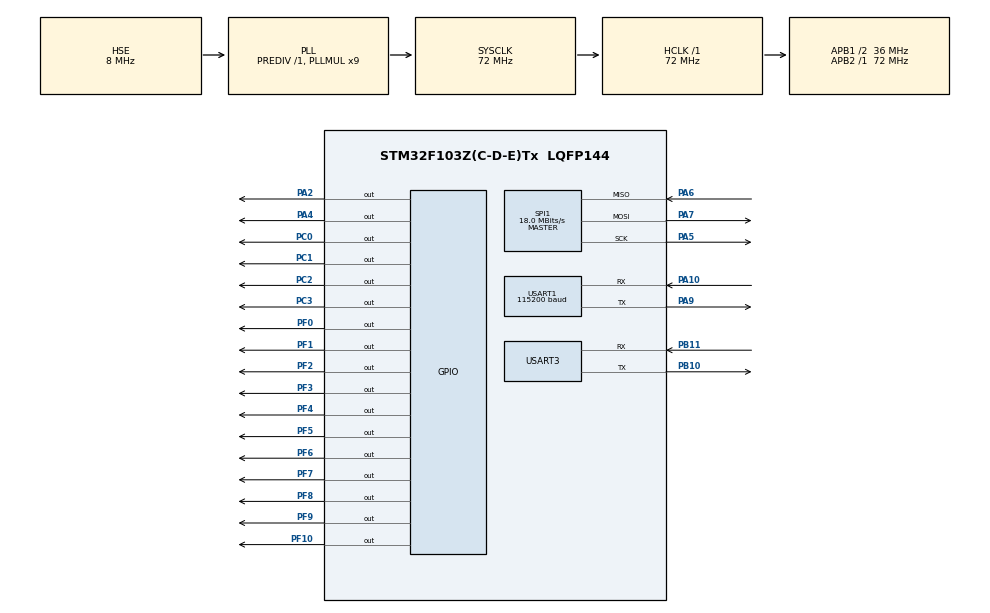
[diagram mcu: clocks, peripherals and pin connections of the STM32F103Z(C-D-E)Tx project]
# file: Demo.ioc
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Dma.Request0=USART1_RX
Dma.Request1=USART3_RX
Dma.USART1_RX.0.Direction=DMA_PERIPH_TO_MEMORY
Dma.USART1_RX.0.Instance=DMA1_Channel5
Dma.USART1_RX.0.MemDataAlignment=DMA_MDATAALIGN_BYTE
Dma.USART1_RX.0.MemInc=DMA_MINC_ENABLE
Dma.USART1_RX.0.Mode=DMA_NORMAL
Dma.USART1_RX.0.PeriphDataAlignment=DMA_PDATAALIGN_BYTE
Dma.USART1_RX.0.PeriphInc=DMA_PINC_DISABLE
Dma.USART1_RX.0.Priority=DMA_PRIORITY_LOW
Dma.USART3_RX.1.Direction=DMA_PERIPH_TO_MEMORY
Dma.USART3_RX.1.Instance=DMA1_Channel3
Dma.USART3_RX.1.MemDataAlignment=DMA_MDATAALIGN_BYTE
Dma.USART3_RX.1.MemInc=DMA_MINC_ENABLE
Dma.USART3_RX.1.Mode=DMA_NORMAL
Dma.USART3_RX.1.PeriphDataAlignment=DMA_PDATAALIGN_BYTE
Dma.USART3_RX.1.PeriphInc=DMA_PINC_DISABLE
Dma.USART3_RX.1.Priority=DMA_PRIORITY_LOW
Mcu.Family=STM32F1
Mcu.Name=STM32F103Z(C-D-E)Tx
Mcu.Package=LQFP144
NVIC.DMA1_Channel3_IRQn=true\:0\:0\:false\:false\:true\:false\:true
NVIC.DMA1_Channel5_IRQn=true\:0\:0\:false\:false\:true\:true\:true
NVIC.PriorityGroup=NVIC_PRIORITYGROUP_4
NVIC.TIM3_IRQn=true\:0\:0\:false\:false\:true\:true\:true
NVIC.USART1_IRQn=true\:0\:0\:false\:false\:true\:true\:true
NVIC.USART3_IRQn=true\:0\:0\:false\:false\:true\:true\:true
OSC_IN.Mode=HSE-External-Oscillator
OSC_IN.Signal=RCC_OSC_IN
OSC_OUT.Mode=HSE-External-Oscillator
OSC_OUT.Signal=RCC_OSC_OUT
PA10.Mode=Asynchronous
PA10.Signal=USART1_RX
PA2.GPIO_Speed=GPIO_SPEED_FREQ_HIGH
PA2.Signal=GPIO_Output
PA4.GPIO_PuPd=GPIO_PULLUP
PA4.GPIO_Speed=GPIO_SPEED_FREQ_HIGH
PA4.PinState=GPIO_PIN_SET
PA4.Signal=GPIO_Output
PA5.Mode=Full_Duplex_Master
PA5.Signal=SPI1_SCK
PA6.Mode=Full_Duplex_Master
PA6.Signal=SPI1_MISO
PA7.Mode=Full_Duplex_Master
PA7.Signal=SPI1_MOSI
PA9.Mode=Asynchronous
PA9.Signal=USART1_TX
PB10.Mode=Asynchronous
PB10.Signal=USART3_TX
PB11.Mode=Asynchronous
PB11.Signal=USART3_RX
PC0.GPIO_Speed=GPIO_SPEED_FREQ_HIGH
PC0.Signal=GPIO_Output
PC1.GPIO_Speed=GPIO_SPEED_FREQ_HIGH
PC1.Signal=GPIO_Output
PC2.GPIO_Speed=GPIO_SPEED_FREQ_HIGH
PC2.Signal=GPIO_Output
PC3.GPIO_Speed=GPIO_SPEED_FREQ_HIGH
PC3.Signal=GPIO_Output
PF0.GPIO_Speed=GPIO_SPEED_FREQ_HIGH
PF0.Signal=GPIO_Output
PF1.GPIO_Speed=GPIO_SPEED_FREQ_HIGH
PF1.Signal=GPIO_Output
PF10.GPIO_Speed=GPIO_SPEED_FREQ_HIGH
PF10.Signal=GPIO_Output
PF2.GPIO_Speed=GPIO_SPEED_FREQ_HIGH
PF2.Signal=GPIO_Output
PF3.GPIO_Speed=GPIO_SPEED_FREQ_HIGH
PF3.Signal=GPIO_Output
PF4.GPIO_Speed=GPIO_SPEED_FREQ_HIGH
PF4.Signal=GPIO_Output
PF5.GPIO_Speed=GPIO_SPEED_FREQ_HIGH
PF5.Signal=GPIO_Output
PF6.GPIO_Speed=GPIO_SPEED_FREQ_HIGH
PF6.Signal=GPIO_Output
PF7.GPIO_Speed=GPIO_SPEED_FREQ_HIGH
PF7.Signal=GPIO_Output
PF8.GPIO_Speed=GPIO_SPEED_FREQ_HIGH
PF8.Signal=GPIO_Output
PF9.GPIO_Speed=GPIO_SPEED_FREQ_HIGH
PF9.Signal=GPIO_Output
ProjectManager.HeapSize=0x1000
ProjectManager.StackSize=0x1000
ProjectManager.TargetToolchain=MDK-ARM V5
RCC.AHBFreq_Value=72000000
RCC.APB1CLKDivider=RCC_HCLK_DIV2
RCC.APB1Freq_Value=36000000
RCC.APB1TimFreq_Value=72000000
RCC.APB2Freq_Value=72000000
RCC.APB2TimFreq_Value=72000000
RCC.HCLKFreq_Value=72000000
RCC.PLLMUL=RCC_PLL_MUL9
RCC.PLLSourceVirtual=RCC_PLLSOURCE_HSE
RCC.SYSCLKFreq_VALUE=72000000
RCC.SYSCLKSource=RCC_SYSCLKSOURCE_PLLCLK
RCC.USBFreq_Value=72000000
SPI1.BaudRatePrescaler=SPI_BAUDRATEPRESCALER_4
SPI1.CalculateBaudRate=18.0 MBits/s
SPI1.Direction=SPI_DIRECTION_2LINES
SPI1.Mode=SPI_MODE_MASTER
SPI1.VirtualType=VM_MASTER
TIM3.Period=1000
TIM3.Prescaler=72
USART1.BaudRate=115200
USART1.Mode=MODE_TX_RX
USART1.OverSampling=UART_OVERSAMPLING_16
USART1.Parity=PARITY_NONE
USART1.StopBits=STOPBITS_1
USART1.VirtualMode=VM_ASYNC
USART1.WordLength=WORDLENGTH_8B
USART3.VirtualMode=VM_ASYNC
VP_SYS_VS_ND.Mode=No_Debug
VP_TIM3_VS_ClockSourceINT.Mode=Internal
board=STM32F103V

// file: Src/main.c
/* USER CODE BEGIN Header */
/**
  ******************************************************************************
  * @file           : main.c
  * @brief          : Main program body
  ******************************************************************************
  * @attention
  *
  * <h2><center>&copy; Copyright (c) 2020 STMicroelectronics.
  * All rights reserved.</center></h2>
  *
  * This software component is licensed by ST under BSD 3-Clause license,
  * the "License"; You may not use this file except in compliance with the
  * License. You may obtain a copy of the License at:
  *                        opensource.org/licenses/BSD-3-Clause
  *
  ******************************************************************************
  */
/* USER CODE END Header */

#include "main.h"
#include "dma.h"
#include "spi.h"
#include "tim.h"
#include "usart.h"
#include "gpio.h"

/* USER CODE BEGIN PV */
/* Private variables ---------------------------------------------------------*/

/* USER CODE END PV */

void SystemClock_Config(void);
/* USER CODE BEGIN PFP */
/* Private function prototypes -----------------------------------------------*/

/* USER CODE END PFP */

/* USER CODE BEGIN 0 */
uint8_t g_nDEBUG_LEVEL=LOG_DEBUG;//调试等级
//////////////////////////////////////////////////////////////////////////
void log_(int logLevel,const char * fmt, ...)
{
        int n, size = 128;
        char p[1024];
        va_list ap;
				va_start(ap, fmt);
				n = vsnprintf(p, size, fmt, ap);
				va_end(ap);
				 printf("%s",(const char*)p);
}

volatile WaveType g_allWaveType;	//全局参数
volatile uint8_t g_WaveID;					//当前波形ID
/* USER CODE END 0 */

int main(void)
{

  /* MCU Configuration--------------------------------------------------------*/

  /* Reset of all peripherals, Initializes the Flash interface and the Systick. */
  HAL_Init();

  /* Configure the system clock */
  SystemClock_Config();

  /* Initialize all configured peripherals */
  MX_GPIO_Init();
  MX_DMA_Init();
  MX_USART1_UART_Init();
  MX_SPI1_Init();
  MX_TIM3_Init();
  MX_USART3_UART_Init();
  /* USER CODE BEGIN 2 */
	HAL_TIM_Base_Start_IT(&htim3); //使用定时器的时候调用这个函数启动

	HAL_UART_Receive_DMA(&huart1, g_UsartType01.RX_pData, RX_LEN);
	__HAL_UART_ENABLE_IT(&huart1, UART_IT_IDLE);

	HAL_UART_Receive_DMA(&huart3, g_UsartType03.RX_pData, RX_LEN);
	__HAL_UART_ENABLE_IT(&huart3, UART_IT_IDLE);

	printf("*********(C) COPYRIGHT 2020-10-25 *****************\r\n");
	printf("*                                                 *\r\n");
	printf("*               展翔电子工作室                    *\r\n");
	printf("*                                                 *\r\n");
	printf("*         zhanxiangElectronicstudio               *\r\n");
	printf("***************************************************\r\n\r\n");
	HAL_Delay(1000);

//	uint32_t DeviceID = 0;
//	uint32_t FlashID = 0;
//
//	/* Get SPI Flash Device ID */
//	DeviceID = SPI_FLASH_ReadDeviceID();
//
//	HAL_Delay( 200 );
//
//	/* Get SPI Flash ID */
//	FlashID = SPI_FLASH_ReadID();
//
//	printf("\r\n FlashID is 0x%X,  Manufacturer Device ID is 0x%X\r\n", FlashID, DeviceID);
	//FlashTest();
	//waveTypeTest();

	//lcd_showpic(2);
//	lcd_sendword(0xe002,1);
//	while(1)HAL_Delay(1);
	//lcd_readword(0xF000);
  /* USER CODE END 2 */

  /* Infinite loop */
  while (1)
  {

    /* USER CODE BEGIN 3 */
		#define uin8_t unsigned char
		static uin8_t g_nIsInitial=1;
		if(g_nIsInitial){				//初始化设备所有参数，并重新载入配置

			GetWaveType(&g_allWaveType);		//
			lcdShowMark(&g_allWaveType);
			g_nIsInitial=0;
		}

			if(g_UsartType01.RX_flag)    	// Receive flag
			{
					g_UsartType01.RX_flag=0;	// clean flag
					HAL_UART_Transmit(&huart1, g_UsartType01.RX_pData, g_UsartType01.RX_Size, 0xFFFF);
					PC_receive();		//处理PC下发命令
			}
			if(g_UsartType03.RX_flag)    	// Receive flag
			{
					g_UsartType03.RX_flag=0;	// clean flag
					HAL_UART_Transmit(&huart1, g_UsartType03.RX_pData, g_UsartType03.RX_Size, 0xFFFF);
					lcd_receive();		//处理串口屏数据
			}
			HAL_Delay(8);
  }
  /* USER CODE END 3 */
}

void SystemClock_Config(void)
{
  RCC_OscInitTypeDef RCC_OscInitStruct = {0};
  RCC_ClkInitTypeDef RCC_ClkInitStruct = {0};

  /** Initializes the CPU, AHB and APB busses clocks
  */
  RCC_OscInitStruct.OscillatorType = RCC_OSCILLATORTYPE_HSE;
  RCC_OscInitStruct.HSEState = RCC_HSE_ON;
  RCC_OscInitStruct.HSEPredivValue = RCC_HSE_PREDIV_DIV1;
  RCC_OscInitStruct.HSIState = RCC_HSI_ON;
  RCC_OscInitStruct.PLL.PLLState = RCC_PLL_ON;
  RCC_OscInitStruct.PLL.PLLSource = RCC_PLLSOURCE_HSE;
  RCC_OscInitStruct.PLL.PLLMUL = RCC_PLL_MUL9;
  if (HAL_RCC_OscConfig(&RCC_OscInitStruct) != HAL_OK)
  {
    Error_Handler();
  }
  /** Initializes the CPU, AHB and APB busses clocks
  */
  RCC_ClkInitStruct.ClockType = RCC_CLOCKTYPE_HCLK|RCC_CLOCKTYPE_SYSCLK
                              |RCC_CLOCKTYPE_PCLK1|RCC_CLOCKTYPE_PCLK2;
  RCC_ClkInitStruct.SYSCLKSource = RCC_SYSCLKSOURCE_PLLCLK;
  RCC_ClkInitStruct.AHBCLKDivider = RCC_SYSCLK_DIV1;
  RCC_ClkInitStruct.APB1CLKDivider = RCC_HCLK_DIV2;
  RCC_ClkInitStruct.APB2CLKDivider = RCC_HCLK_DIV1;

  if (HAL_RCC_ClockConfig(&RCC_ClkInitStruct, FLASH_LATENCY_2) != HAL_OK)
  {
    Error_Handler();
  }
}

void Error_Handler(void)
{
}

/************************ (C) COPYRIGHT STMicroelectronics *****END OF FILE****/
